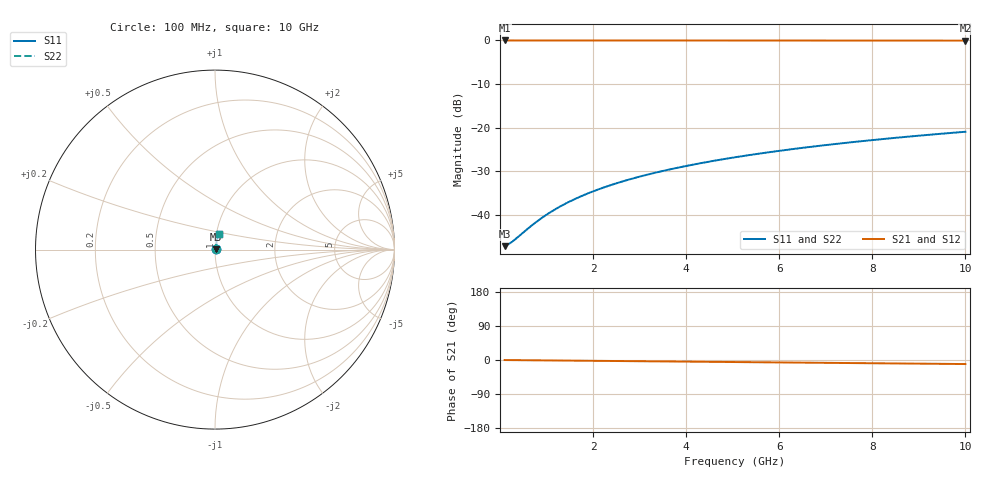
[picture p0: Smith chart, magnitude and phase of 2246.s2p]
# Hz S RI R 50.00
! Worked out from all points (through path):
!   100 points, 100 MHz to 10 GHz, reference 50 ohm
!   highest |S21| = -0.04 dB at 100 MHz (marker M1); lowest = -0.1 dB at 10 GHz (marker M2)
!   group delay of S21, straight-line fit = 2.97 ps
!   lowest |S11| = -47.2 dB at 100 MHz (marker M3), VSWR 1.01, Z = 50.4 + j0.0901 ohm
!   |S11| at or under -10 dB: start of sweep to end of sweep
!   |S22| runs from -47.2 to -21.0 dB; largest |S21 - S12| = 0
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1e8  0.00428 0.000893  0.9957 -0.00186  0.9957 -0.00186  0.00428 0.000893
2e8  0.00432 0.00179  0.9957 -0.00372  0.9957 -0.00372  0.00432 0.00179
3e8  0.00435 0.00268  0.9956 -0.00558  0.9956 -0.00558  0.00435 0.00268
7e8  0.00447 0.00625  0.9955 -0.013  0.9955 -0.013  0.00447 0.00625
8e8  0.0045 0.00714  0.9955 -0.0149  0.9955 -0.0149  0.0045 0.00714
1e9  0.00458 0.00893  0.9954 -0.0186  0.9954 -0.0186  0.00458 0.00893
1.2e9  0.00467 0.0107  0.9953 -0.0223  0.9953 -0.0223  0.00467 0.0107
1.4e9  0.00477 0.0125  0.9951 -0.026  0.9951 -0.026  0.00477 0.0125
1.6e9  0.00488 0.0143  0.995 -0.0297  0.995 -0.0297  0.00488 0.0143
1.8e9  0.00501 0.0161  0.9948 -0.0334  0.9948 -0.0334  0.00501 0.0161
2.1e9  0.00522 0.0187  0.9946 -0.039  0.9946 -0.039  0.00522 0.0187
2.5e9  0.00555 0.0223  0.9941 -0.0464  0.9941 -0.0464  0.00555 0.0223
2.9e9  0.00593 0.0258  0.9937 -0.0539  0.9937 -0.0539  0.00593 0.0258
3.4e9  0.00647 0.0303  0.993 -0.0631  0.993 -0.0631  0.00647 0.0303
3.8e9  0.00697 0.0338  0.9923 -0.0705  0.9923 -0.0705  0.00697 0.0338
4.2e9  0.00751 0.0373  0.9916 -0.0779  0.9916 -0.0779  0.00751 0.0373
5.1e9  0.00893 0.0452  0.9898 -0.0945  0.9898 -0.0945  0.00893 0.0452
5.9e9  0.0104 0.0522  0.9879 -0.1092  0.9879 -0.1092  0.0104 0.0522
6.7e9  0.0121 0.0591  0.9857 -0.1239  0.9857 -0.1239  0.0121 0.0591
7.5e9  0.014 0.066  0.9833 -0.1385  0.9833 -0.1385  0.014 0.066
8.4e9  0.0164 0.0736  0.9802 -0.1549  0.9802 -0.1549  0.0164 0.0736
1e10  0.0212 0.087  0.974 -0.1837  0.974 -0.1837  0.0212 0.087
